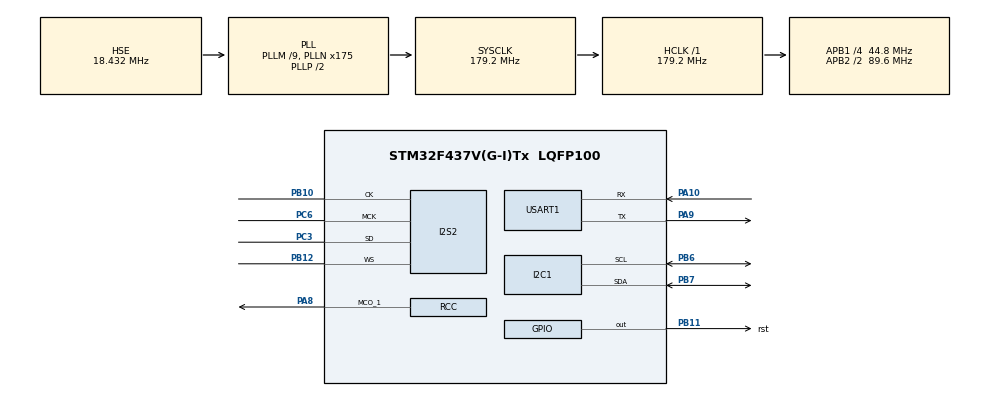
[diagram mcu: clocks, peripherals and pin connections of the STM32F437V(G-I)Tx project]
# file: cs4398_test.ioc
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Dma.Request0=SPI2_TX
Dma.SPI2_TX.0.Direction=DMA_MEMORY_TO_PERIPH
Dma.SPI2_TX.0.FIFOMode=DMA_FIFOMODE_DISABLE
Dma.SPI2_TX.0.Instance=DMA1_Stream4
Dma.SPI2_TX.0.MemDataAlignment=DMA_MDATAALIGN_BYTE
Dma.SPI2_TX.0.MemInc=DMA_MINC_ENABLE
Dma.SPI2_TX.0.Mode=DMA_CIRCULAR
Dma.SPI2_TX.0.PeriphDataAlignment=DMA_PDATAALIGN_BYTE
Dma.SPI2_TX.0.PeriphInc=DMA_PINC_DISABLE
Dma.SPI2_TX.0.Priority=DMA_PRIORITY_LOW
I2C1.DutyCycle=I2C_DUTYCYCLE_2
I2C1.I2C_Mode=I2C_Fast
I2S2.AudioFreq=I2S_AUDIOFREQ_32K
I2S2.ErrorAudioFreq=0.0 %
I2S2.FullDuplexMode=I2S_FULLDUPLEXMODE_DISABLE
I2S2.Instance=SPI$Index
I2S2.RealAudioFreq=32.0 KHz
I2S2.Standard=I2S_STANDARD_LSB
I2S2.VirtualMode=I2S_MODE_MASTER
Mcu.Family=STM32F4
Mcu.Name=STM32F437V(G-I)Tx
Mcu.Package=LQFP100
NVIC.DMA1_Stream4_IRQn=true\:0\:0\:false\:false\:true
NVIC.PriorityGroup=NVIC_PRIORITYGROUP_4
PA10.Mode=Asynchronous
PA10.Signal=USART1_RX
PA8.Mode=Clock-out-1
PA8.Signal=RCC_MCO_1
PA9.Mode=Asynchronous
PA9.Signal=USART1_TX
PB10.Mode=Half_Duplex_Master
PB10.Signal=I2S2_CK
PB11.GPIO_Label=rst
PB11.Signal=GPIO_Output
PB12.Mode=Half_Duplex_Master
PB12.Signal=I2S2_WS
PB6.Mode=I2C
PB6.Signal=I2C1_SCL
PB7.Mode=I2C
PB7.Signal=I2C1_SDA
PC3.Mode=Half_Duplex_Master
PC3.Signal=I2S2_SD
PC6.Mode=Master_Clock_Activated
PC6.Signal=I2S2_MCK
PH0/OSC_IN.Mode=HSE-External-Oscillator
PH0/OSC_IN.Signal=RCC_OSC_IN
PH1/OSC_OUT.Mode=HSE-External-Oscillator
PH1/OSC_OUT.Signal=RCC_OSC_OUT
ProjectManager.HeapSize=0x200
ProjectManager.StackSize=0x400
ProjectManager.TargetToolchain=SW4STM32
RCC.48MHZClocksFreq_Value=89600000
RCC.AHBFreq_Value=179200000
RCC.APB1CLKDivider=RCC_HCLK_DIV4
RCC.APB1Freq_Value=44800000
RCC.APB1TimFreq_Value=89600000
RCC.APB2CLKDivider=RCC_HCLK_DIV2
RCC.APB2Freq_Value=89600000
RCC.APB2TimFreq_Value=179200000
RCC.CortexFreq_Value=179200000
RCC.HCLKFreq_Value=179200000
RCC.HSE_VALUE=18432000
RCC.HSI_VALUE=16000000
RCC.LSE_VALUE=32768
RCC.PLLI2SN=64
RCC.PLLM=9
RCC.PLLN=175
RCC.PLLSourceVirtual=RCC_PLLSOURCE_HSE
RCC.SYSCLKFreq_VALUE=179200000
RCC.SYSCLKSource=RCC_SYSCLKSOURCE_PLLCLK
RCC.VCOOutputFreq_Value=358400000
USART1.VirtualMode=VM_ASYNC
board=cs4398_test

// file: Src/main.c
/**
  ******************************************************************************
  * File Name          : main.c
  * Description        : Main program body
  ******************************************************************************
  *
  * COPYRIGHT(c) 2017 STMicroelectronics
  *
  * Redistribution and use in source and binary forms, with or without modification,
  * are permitted provided that the following conditions are met:
  *   1. Redistributions of source code must retain the above copyright notice,
  *      this list of conditions and the following disclaimer.
  *   2. Redistributions in binary form must reproduce the above copyright notice,
  *      this list of conditions and the following disclaimer in the documentation
  *      and/or other materials provided with the distribution.
  *   3. Neither the name of STMicroelectronics nor the names of its contributors
  *      may be used to endorse or promote products derived from this software
  *      without specific prior written permission.
  *
  * THIS SOFTWARE IS PROVIDED BY THE COPYRIGHT HOLDERS AND CONTRIBUTORS "AS IS"
  * AND ANY EXPRESS OR IMPLIED WARRANTIES, INCLUDING, BUT NOT LIMITED TO, THE
  * IMPLIED WARRANTIES OF MERCHANTABILITY AND FITNESS FOR A PARTICULAR PURPOSE ARE
  * DISCLAIMED. IN NO EVENT SHALL THE COPYRIGHT HOLDER OR CONTRIBUTORS BE LIABLE
  * FOR ANY DIRECT, INDIRECT, INCIDENTAL, SPECIAL, EXEMPLARY, OR CONSEQUENTIAL
  * DAMAGES (INCLUDING, BUT NOT LIMITED TO, PROCUREMENT OF SUBSTITUTE GOODS OR
  * SERVICES; LOSS OF USE, DATA, OR PROFITS; OR BUSINESS INTERRUPTION) HOWEVER
  * CAUSED AND ON ANY THEORY OF LIABILITY, WHETHER IN CONTRACT, STRICT LIABILITY,
  * OR TORT (INCLUDING NEGLIGENCE OR OTHERWISE) ARISING IN ANY WAY OUT OF THE USE
  * OF THIS SOFTWARE, EVEN IF ADVISED OF THE POSSIBILITY OF SUCH DAMAGE.
  *
  ******************************************************************************
  */
#include "main.h"
#include "stm32f4xx_hal.h"
#include "dma.h"
#include "i2c.h"
#include "i2s.h"
#include "usart.h"
#include "gpio.h"
#include "gpio.h"
#include <memory.h>
/* USER CODE BEGIN Includes */
#include <math.h>

/* USER CODE END Includes */

/* USER CODE BEGIN PV */
/* Private variables ---------------------------------------------------------*/

/* USER CODE END PV */

void SystemClock_Config(void);
void Error_Handler(void);

/* USER CODE BEGIN PFP */
/* Private function prototypes -----------------------------------------------*/

/* USER CODE END PFP */

/* USER CODE BEGIN 0 */
#define cs_addr 0b1001100<<1
#define rst_gpio rst_GPIO_Port, rst_Pin
void cs_init()
{
    HAL_GPIO_WritePin(rst_gpio, GPIO_PIN_RESET);
    HAL_Delay(10);
    HAL_GPIO_WritePin(rst_gpio, GPIO_PIN_SET);
    uint8_t d[2] = {0x8, 0b11000000};
    printf("trans %d\n", HAL_I2C_Master_Transmit(&hi2c1, cs_addr, d, 2, 100));
    d[0] = 0x9;
    HAL_I2C_Master_Transmit(&hi2c1, cs_addr, d, 1, 100);
    printf("rec %d\n", HAL_I2C_Master_Receive(&hi2c1, cs_addr, d, 1, 100));
    printf("recive %d\n", d[0]);
    d[0] = 0x02;
    d[1] = 0b00101100;
    printf("trans %d\n", HAL_I2C_Master_Transmit(&hi2c1, cs_addr, d, 2, 100));

}
#define buf_l 32
uint16_t buf[buf_l*2];
void cs_gen_buf()
{
    int16_t r = 8000;
    for(uint32_t i = 0; i < buf_l; i++)
    {
	buf[i*2] = 10000.0 + (double)((double)r*(double)sin(2*i*3.1415926/buf_l));
	printf("%d\n", buf[i*2]);
	buf[i*2+1] = 10000.0 +(double)((double)r*(double)sin(2*i*3.1415926/buf_l));
    }
}
void cs_send()
{
    HAL_I2S_Transmit_DMA(&hi2s2, buf, buf_l*4);
}
/* USER CODE END 0 */

int main(void)
{

  /* MCU Configuration----------------------------------------------------------*/

  /* Reset of all peripherals, Initializes the Flash interface and the Systick. */
  HAL_Init();

  /* Configure the system clock */
  SystemClock_Config();

  /* Initialize all configured peripherals */
  MX_GPIO_Init();
  MX_DMA_Init();
  MX_I2C1_Init();
  MX_I2S2_Init();
  MX_USART1_UART_Init();

  /* USER CODE BEGIN 2 */
  printf("hello!\n");
  cs_init();
  cs_gen_buf();
  cs_send();
  /* USER CODE END 2 */

  /* Infinite loop */
  while (1)
  {

  }

}

/** System Clock Configuration
*/
void SystemClock_Config(void)
{

  RCC_OscInitTypeDef RCC_OscInitStruct;
  RCC_ClkInitTypeDef RCC_ClkInitStruct;
  RCC_PeriphCLKInitTypeDef PeriphClkInitStruct;

    /**Configure the main internal regulator output voltage
    */
  __HAL_RCC_PWR_CLK_ENABLE();

  __HAL_PWR_VOLTAGESCALING_CONFIG(PWR_REGULATOR_VOLTAGE_SCALE1);

    /**Initializes the CPU, AHB and APB busses clocks
    */
  RCC_OscInitStruct.OscillatorType = RCC_OSCILLATORTYPE_HSI|RCC_OSCILLATORTYPE_HSE;
  RCC_OscInitStruct.HSEState = RCC_HSE_ON;
  RCC_OscInitStruct.HSIState = RCC_HSI_ON;
  RCC_OscInitStruct.HSICalibrationValue = 16;
  RCC_OscInitStruct.PLL.PLLState = RCC_PLL_ON;
  RCC_OscInitStruct.PLL.PLLSource = RCC_PLLSOURCE_HSE;
  RCC_OscInitStruct.PLL.PLLM = 9;
  RCC_OscInitStruct.PLL.PLLN = 175;
  RCC_OscInitStruct.PLL.PLLP = RCC_PLLP_DIV2;
  RCC_OscInitStruct.PLL.PLLQ = 4;
  if (HAL_RCC_OscConfig(&RCC_OscInitStruct) != HAL_OK)
  {
    Error_Handler();
  }

    /**Activate the Over-Drive mode
    */
  if (HAL_PWREx_EnableOverDrive() != HAL_OK)
  {
    Error_Handler();
  }

    /**Initializes the CPU, AHB and APB busses clocks
    */
  RCC_ClkInitStruct.ClockType = RCC_CLOCKTYPE_HCLK|RCC_CLOCKTYPE_SYSCLK
                              |RCC_CLOCKTYPE_PCLK1|RCC_CLOCKTYPE_PCLK2;
  RCC_ClkInitStruct.SYSCLKSource = RCC_SYSCLKSOURCE_PLLCLK;
  RCC_ClkInitStruct.AHBCLKDivider = RCC_SYSCLK_DIV1;
  RCC_ClkInitStruct.APB1CLKDivider = RCC_HCLK_DIV4;
  RCC_ClkInitStruct.APB2CLKDivider = RCC_HCLK_DIV2;

  if (HAL_RCC_ClockConfig(&RCC_ClkInitStruct, FLASH_LATENCY_5) != HAL_OK)
  {
    Error_Handler();
  }

  PeriphClkInitStruct.PeriphClockSelection = RCC_PERIPHCLK_I2S;
  PeriphClkInitStruct.PLLI2S.PLLI2SN = 64;
  PeriphClkInitStruct.PLLI2S.PLLI2SR = 2;
  if (HAL_RCCEx_PeriphCLKConfig(&PeriphClkInitStruct) != HAL_OK)
  {
    Error_Handler();
  }

  HAL_RCC_MCOConfig(RCC_MCO1, RCC_MCO1SOURCE_HSI, RCC_MCODIV_1);

    /**Configure the Systick interrupt time
    */
  HAL_SYSTICK_Config(HAL_RCC_GetHCLKFreq()/1000);

    /**Configure the Systick
    */
  HAL_SYSTICK_CLKSourceConfig(SYSTICK_CLKSOURCE_HCLK);

  /* SysTick_IRQn interrupt configuration */
  HAL_NVIC_SetPriority(SysTick_IRQn, 0, 0);
}

void Error_Handler(void)
{
  while(1)
  {
  }
}

/************************ (C) COPYRIGHT STMicroelectronics *****END OF FILE****/
